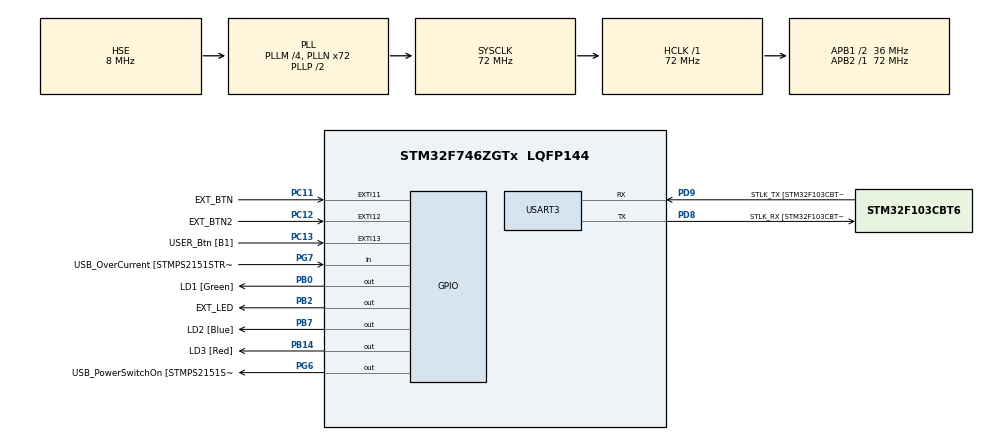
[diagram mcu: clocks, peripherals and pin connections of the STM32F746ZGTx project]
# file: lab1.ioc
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Mcu.Family=STM32F7
Mcu.Name=STM32F746ZGTx
Mcu.Package=LQFP144
NVIC.EXTI15_10_IRQn=true\:0\:0\:false\:false\:true\:true\:true\:true
NVIC.PriorityGroup=NVIC_PRIORITYGROUP_4
PA1.GPIO_Label=RMII_REF_CLK [LAN8742A-CZ-TR_REFCLK0]
PA1.Signal=ETH_REF_CLK
PA10.GPIO_Label=USB_ID
PA10.Signal=USB_OTG_FS_ID
PA11.GPIO_Label=USB_DM
PA11.Signal=USB_OTG_FS_DM
PA12.GPIO_Label=USB_DP
PA12.Signal=USB_OTG_FS_DP
PA13.GPIO_Label=TMS
PA13.Mode=Serial_Wire
PA13.Signal=SYS_JTMS-SWDIO
PA14.GPIO_Label=TCK
PA14.Mode=Serial_Wire
PA14.Signal=SYS_JTCK-SWCLK
PA2.GPIO_Label=RMII_MDIO [LAN8742A-CZ-TR_MDIO]
PA2.Signal=ETH_MDIO
PA7.GPIO_Label=RMII_CRS_DV [LAN8742A-CZ-TR_CRS_DV]
PA7.Signal=ETH_CRS_DV
PA8.GPIO_Label=USB_SOF [TP1]
PA8.Signal=USB_OTG_FS_SOF
PA9.GPIO_Label=USB_VBUS
PA9.Signal=USB_OTG_FS_VBUS
PB0.GPIO_Label=LD1 [Green]
PB0.Signal=GPIO_Output
PB13.GPIO_Label=RMII_TXD1 [LAN8742A-CZ-TR_TXD1]
PB13.Signal=ETH_TXD1
PB14.GPIO_Label=LD3 [Red]
PB14.Signal=GPIO_Output
PB2.GPIO_Label=EXT_LED
PB2.Signal=GPIO_Output
PB3.GPIO_Label=SW0
PB3.Signal=SYS_JTDO-SWO
PB7.GPIO_Label=LD2 [Blue]
PB7.Signal=GPIO_Output
PC1.GPIO_Label=RMII_MDC [LAN8742A-CZ-TR_MDC]
PC1.Signal=ETH_MDC
PC11.GPIO_Label=EXT_BTN
PC11.GPIO_ModeDefaultEXTI=GPIO_MODE_IT_RISING
PC11.GPIO_PuPd=GPIO_PULLUP
PC11.Signal=GPXTI11
PC12.GPIO_Label=EXT_BTN2
PC12.GPIO_PuPd=GPIO_PULLDOWN
PC12.Signal=GPXTI12
PC13.GPIO_Label=USER_Btn [B1]
PC13.Signal=GPXTI13
PC14/OSC32_IN.Mode=LSE-External-Oscillator
PC14/OSC32_IN.Signal=RCC_OSC32_IN
PC15/OSC32_OUT.Mode=LSE-External-Oscillator
PC15/OSC32_OUT.Signal=RCC_OSC32_OUT
PC4.GPIO_Label=RMII_RXD0 [LAN8742A-CZ-TR_RXD0]
PC4.Signal=ETH_RXD0
PC5.GPIO_Label=RMII_RXD1 [LAN8742A-CZ-TR_RXD1]
PC5.Signal=ETH_RXD1
PD8.GPIO_Label=STLK_RX [STM32F103CBT6_PA3]
PD8.GPIO_PuPd=GPIO_PULLUP
PD8.Mode=Asynchronous
PD8.Signal=USART3_TX
PD9.GPIO_Label=STLK_TX [STM32F103CBT6_PA2]
PD9.GPIO_PuPd=GPIO_PULLUP
PD9.Mode=Asynchronous
PD9.Signal=USART3_RX
PG11.GPIO_Label=RMII_TX_EN [LAN8742A-CZ-TR_TXEN]
PG11.Signal=ETH_TX_EN
PG13.GPIO_Label=RMII_TXD0 [LAN8742A-CZ-TR_TXD0]
PG13.Signal=ETH_TXD0
PG6.GPIO_Label=USB_PowerSwitchOn [STMPS2151STR_EN]
PG6.Signal=GPIO_Output
PG7.GPIO_Label=USB_OverCurrent [STMPS2151STR_FAULT]
PG7.Signal=GPIO_Input
PH0/OSC_IN.GPIO_Label=MCO [STM32F103CBT6_PA8]
PH0/OSC_IN.Mode=HSE-External-Clock-Source
PH0/OSC_IN.Signal=RCC_OSC_IN
PH1/OSC_OUT.Mode=HSE-External-Clock-Source
PH1/OSC_OUT.Signal=RCC_OSC_OUT
ProjectManager.HeapSize=0x200
ProjectManager.StackSize=0x400
ProjectManager.TargetToolchain=STM32CubeIDE
RCC.48MHZClocksFreq_Value=24000000
RCC.AHBFreq_Value=72000000
RCC.APB1CLKDivider=RCC_HCLK_DIV2
RCC.APB1Freq_Value=36000000
RCC.APB1TimFreq_Value=72000000
RCC.APB2Freq_Value=72000000
RCC.APB2TimFreq_Value=72000000
RCC.CortexFreq_Value=72000000
RCC.HCLKFreq_Value=72000000
RCC.HSE_VALUE=8000000
RCC.HSI_VALUE=16000000
RCC.PLLM=4
RCC.PLLMUL=RCC_PLL_MUL9
RCC.PLLN=72
RCC.PLLQ=3
RCC.PLLSourceVirtual=RCC_PLLSOURCE_HSE
RCC.PRESCALERUSB=RCC_USBCLKSOURCE_PLL_DIV1_5
RCC.SYSCLKFreq_VALUE=72000000
RCC.SYSCLKSource=RCC_SYSCLKSOURCE_PLLCLK
RCC.SYSCLKSourceVirtual=RCC_SYSCLKSOURCE_PLLCLK
RCC.USBFreq_Value=48000000
RCC.VCOOutputFreq_Value=144000000
USART3.VirtualMode-Asynchronous=VM_ASYNC
board=NUCLEO-F746ZG

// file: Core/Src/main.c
/* USER CODE BEGIN Header */
/**
  ******************************************************************************
  * @file           : main.c
  * @brief          : Main program body
  ******************************************************************************
  * @attention
  *
  * Copyright (c) 2024 STMicroelectronics.
  * All rights reserved.
  *
  * This software is licensed under terms that can be found in the LICENSE file
  * in the root directory of this software component.
  * If no LICENSE file comes with this software, it is provided AS-IS.
  *
  ******************************************************************************
  */
/* USER CODE END Header */
#include "main.h"

/* USER CODE BEGIN PD */
#define TASK 5
/* USER CODE END PD */

UART_HandleTypeDef huart3;

/* USER CODE BEGIN PV */
#if TASK==3 || TASK==4 || TASK==5
_Bool RisingEdge=0;
#endif
/* USER CODE END PV */

void SystemClock_Config(void);
static void MX_GPIO_Init(void);
static void MX_USART3_UART_Init(void);

/* USER CODE BEGIN PFP */
#if TASK==3
void HAL_GPIO_EXTI_Callback(uint16_t GPIO_Pin){
	if(GPIO_Pin==USER_Btn_Pin){
		RisingEdge=1;
	}
}
#endif
#if TASK==4 || TASK==5
void HAL_GPIO_EXTI_Callback(uint16_t GPIO_Pin){
	if(GPIO_Pin==EXT_BTN_Pin){
		RisingEdge=1;
	}
	if(GPIO_Pin==EXT_BTN2_Pin){
		RisingEdge=1;
	}
}
#endif
//#if TASK==5
//void HAL_GPIO_EXTI_Callback(uint16_t GPIO_Pin){
//	if(GPIO_Pin==EXT_BTN_Pin){
//		HAL_GPIO_WritePin(EXT_LED_GPIO_Port, EXT_LED_Pin, GPIO_PIN_SET);
//	}
//	if(GPIO_Pin==EXT_BTN2_Pin){
//		HAL_GPIO_WritePin(EXT_LED_GPIO_Port, EXT_LED_Pin, GPIO_PIN_RESET);
//	}
//}
//#endif
/* USER CODE END PFP */

int main(void)
{

  /* MCU Configuration--------------------------------------------------------*/

  /* Reset of all peripherals, Initializes the Flash interface and the Systick. */
  HAL_Init();

  /* Configure the system clock */
  SystemClock_Config();

  /* Initialize all configured peripherals */
  MX_GPIO_Init();
  MX_USART3_UART_Init();
  /* USER CODE BEGIN 2 */
#if TASK==1
  _Bool LD1_State, LD2_State, LD3_State;
  int i=1;
#endif
#if TASK==2 || TASK==3 || TASK==4 || TASK==5
  _Bool UserBtnNow, UserBtnPrev, UserBtn2Now, UserBtn2Prev;
#endif
  /* USER CODE END 2 */

  /* Infinite loop */
  /* USER CODE BEGIN WHILE */
  while (1)
  {
#if TASK==1
	  LD1_State=HAL_GPIO_ReadPin(LD1_GPIO_Port, LD1_Pin);
	  LD2_State=HAL_GPIO_ReadPin(LD2_GPIO_Port, LD2_Pin);
	  LD3_State=HAL_GPIO_ReadPin(LD3_GPIO_Port, LD3_Pin);

	  HAL_GPIO_WritePin(LD1_GPIO_Port, LD1_Pin, i==1);
	  HAL_GPIO_WritePin(LD2_GPIO_Port, LD2_Pin, i==2);
	  HAL_GPIO_WritePin(LD3_GPIO_Port, LD3_Pin, i==3);

	  i=1+ (i+1)%3;

	  HAL_Delay(100);
#endif
#if TASK==2
	  UserBtnNow=HAL_GPIO_ReadPin(USER_Btn_GPIO_Port, USER_Btn_Pin);
	  if(UserBtnNow==1 && UserBtnPrev==0){
		  HAL_GPIO_TogglePin(LD1_GPIO_Port, LD1_Pin);
		  HAL_GPIO_ReadPin(LD1_GPIO_Port, LD1_Pin);
	  }
	  UserBtnPrev=UserBtnNow;
	  HAL_Delay(10);
#endif
#if TASK==3
	  RisingEdge=0;
	  UserBtnNow=HAL_GPIO_ReadPin(USER_Btn_GPIO_Port, USER_Btn_Pin);
	  if(UserBtnNow==1 && UserBtnPrev==0){
		  HAL_GPIO_EXTI_Callback(USER_Btn_Pin);
		  if(RisingEdge==1){
			  HAL_GPIO_TogglePin(LD1_GPIO_Port, LD1_Pin);
		  }
	  }
	  UserBtnPrev=UserBtnNow;
	  HAL_Delay(10);
#endif
#if TASK==4
	  RisingEdge=0;
	  UserBtnNow=HAL_GPIO_ReadPin(EXT_BTN_GPIO_Port, EXT_BTN_Pin);
	  if(UserBtnNow==1 && UserBtnPrev==0){
		  HAL_GPIO_EXTI_Callback(EXT_BTN_Pin);
		  if(RisingEdge==1){
			  HAL_GPIO_TogglePin(EXT_LED_GPIO_Port, EXT_LED_Pin);
		  	  }
	  	  }
	  UserBtnPrev=UserBtnNow;
	  HAL_Delay(10);
#endif
#if TASK==5
	  RisingEdge=0;
	  UserBtnNow=HAL_GPIO_ReadPin(EXT_BTN_GPIO_Port, EXT_BTN_Pin);
	  UserBtn2Now=HAL_GPIO_ReadPin(EXT_BTN2_GPIO_Port, EXT_BTN2_Pin);
	  if(UserBtnNow==1 && UserBtnPrev==0){
		  HAL_GPIO_EXTI_Callback(EXT_BTN_Pin);
		  if(RisingEdge==1){
			  HAL_GPIO_TogglePin(EXT_LED_GPIO_Port, EXT_LED_Pin);
		  	  }
	  	  }
	  if(UserBtn2Now==1 && UserBtn2Prev==0){
		  HAL_GPIO_EXTI_Callback(EXT_BTN2_Pin);
		  if(RisingEdge==1){
		  	  }
	  	  }
	  UserBtnPrev=UserBtnNow;
	  UserBtn2Prev=UserBtn2Now;
	  HAL_Delay(10);
#endif
    /* USER CODE END WHILE */

  }
}

void SystemClock_Config(void)
{
  RCC_OscInitTypeDef RCC_OscInitStruct = {0};
  RCC_ClkInitTypeDef RCC_ClkInitStruct = {0};

  /** Configure LSE Drive Capability
  */
  HAL_PWR_EnableBkUpAccess();

  /** Configure the main internal regulator output voltage
  */
  __HAL_RCC_PWR_CLK_ENABLE();
  __HAL_PWR_VOLTAGESCALING_CONFIG(PWR_REGULATOR_VOLTAGE_SCALE3);

  /** Initializes the RCC Oscillators according to the specified parameters
  * in the RCC_OscInitTypeDef structure.
  */
  RCC_OscInitStruct.OscillatorType = RCC_OSCILLATORTYPE_HSE;
  RCC_OscInitStruct.HSEState = RCC_HSE_BYPASS;
  RCC_OscInitStruct.PLL.PLLState = RCC_PLL_ON;
  RCC_OscInitStruct.PLL.PLLSource = RCC_PLLSOURCE_HSE;
  RCC_OscInitStruct.PLL.PLLM = 4;
  RCC_OscInitStruct.PLL.PLLN = 72;
  RCC_OscInitStruct.PLL.PLLP = RCC_PLLP_DIV2;
  RCC_OscInitStruct.PLL.PLLQ = 3;
  if (HAL_RCC_OscConfig(&RCC_OscInitStruct) != HAL_OK)
  {
    Error_Handler();
  }

  /** Initializes the CPU, AHB and APB buses clocks
  */
  RCC_ClkInitStruct.ClockType = RCC_CLOCKTYPE_HCLK|RCC_CLOCKTYPE_SYSCLK
                              |RCC_CLOCKTYPE_PCLK1|RCC_CLOCKTYPE_PCLK2;
  RCC_ClkInitStruct.SYSCLKSource = RCC_SYSCLKSOURCE_PLLCLK;
  RCC_ClkInitStruct.AHBCLKDivider = RCC_SYSCLK_DIV1;
  RCC_ClkInitStruct.APB1CLKDivider = RCC_HCLK_DIV2;
  RCC_ClkInitStruct.APB2CLKDivider = RCC_HCLK_DIV1;

  if (HAL_RCC_ClockConfig(&RCC_ClkInitStruct, FLASH_LATENCY_2) != HAL_OK)
  {
    Error_Handler();
  }
}

static void MX_USART3_UART_Init(void)
{

  huart3.Instance = USART3;
  huart3.Init.BaudRate = 115200;
  huart3.Init.WordLength = UART_WORDLENGTH_8B;
  huart3.Init.StopBits = UART_STOPBITS_1;
  huart3.Init.Parity = UART_PARITY_NONE;
  huart3.Init.Mode = UART_MODE_TX_RX;
  huart3.Init.HwFlowCtl = UART_HWCONTROL_NONE;
  huart3.Init.OverSampling = UART_OVERSAMPLING_16;
  huart3.Init.OneBitSampling = UART_ONE_BIT_SAMPLE_DISABLE;
  huart3.AdvancedInit.AdvFeatureInit = UART_ADVFEATURE_NO_INIT;
  if (HAL_UART_Init(&huart3) != HAL_OK)
  {
    Error_Handler();
  }

}

static void MX_GPIO_Init(void)
{
  GPIO_InitTypeDef GPIO_InitStruct = {0};

  /* GPIO Ports Clock Enable */
  __HAL_RCC_GPIOC_CLK_ENABLE();
  __HAL_RCC_GPIOH_CLK_ENABLE();
  __HAL_RCC_GPIOA_CLK_ENABLE();
  __HAL_RCC_GPIOB_CLK_ENABLE();
  __HAL_RCC_GPIOD_CLK_ENABLE();
  __HAL_RCC_GPIOG_CLK_ENABLE();

  /*Configure GPIO pin Output Level */
  HAL_GPIO_WritePin(GPIOB, LD1_Pin|EXT_LED_Pin|LD3_Pin|LD2_Pin, GPIO_PIN_RESET);

  /*Configure GPIO pin Output Level */
  HAL_GPIO_WritePin(USB_PowerSwitchOn_GPIO_Port, USB_PowerSwitchOn_Pin, GPIO_PIN_RESET);

  /*Configure GPIO pin : USER_Btn_Pin */
  GPIO_InitStruct.Pin = USER_Btn_Pin;
  GPIO_InitStruct.Mode = GPIO_MODE_IT_RISING;
  GPIO_InitStruct.Pull = GPIO_NOPULL;
  HAL_GPIO_Init(USER_Btn_GPIO_Port, &GPIO_InitStruct);

  /*Configure GPIO pins : RMII_MDC_Pin RMII_RXD0_Pin RMII_RXD1_Pin */
  GPIO_InitStruct.Pin = RMII_MDC_Pin|RMII_RXD0_Pin|RMII_RXD1_Pin;
  GPIO_InitStruct.Mode = GPIO_MODE_AF_PP;
  GPIO_InitStruct.Pull = GPIO_NOPULL;
  GPIO_InitStruct.Speed = GPIO_SPEED_FREQ_VERY_HIGH;
  GPIO_InitStruct.Alternate = GPIO_AF11_ETH;
  HAL_GPIO_Init(GPIOC, &GPIO_InitStruct);

  /*Configure GPIO pins : RMII_REF_CLK_Pin RMII_MDIO_Pin RMII_CRS_DV_Pin */
  GPIO_InitStruct.Pin = RMII_REF_CLK_Pin|RMII_MDIO_Pin|RMII_CRS_DV_Pin;
  GPIO_InitStruct.Mode = GPIO_MODE_AF_PP;
  GPIO_InitStruct.Pull = GPIO_NOPULL;
  GPIO_InitStruct.Speed = GPIO_SPEED_FREQ_VERY_HIGH;
  GPIO_InitStruct.Alternate = GPIO_AF11_ETH;
  HAL_GPIO_Init(GPIOA, &GPIO_InitStruct);

  /*Configure GPIO pins : LD1_Pin EXT_LED_Pin LD3_Pin LD2_Pin */
  GPIO_InitStruct.Pin = LD1_Pin|EXT_LED_Pin|LD3_Pin|LD2_Pin;
  GPIO_InitStruct.Mode = GPIO_MODE_OUTPUT_PP;
  GPIO_InitStruct.Pull = GPIO_NOPULL;
  GPIO_InitStruct.Speed = GPIO_SPEED_FREQ_LOW;
  HAL_GPIO_Init(GPIOB, &GPIO_InitStruct);

  /*Configure GPIO pin : RMII_TXD1_Pin */
  GPIO_InitStruct.Pin = RMII_TXD1_Pin;
  GPIO_InitStruct.Mode = GPIO_MODE_AF_PP;
  GPIO_InitStruct.Pull = GPIO_NOPULL;
  GPIO_InitStruct.Speed = GPIO_SPEED_FREQ_VERY_HIGH;
  GPIO_InitStruct.Alternate = GPIO_AF11_ETH;
  HAL_GPIO_Init(RMII_TXD1_GPIO_Port, &GPIO_InitStruct);

  /*Configure GPIO pin : USB_PowerSwitchOn_Pin */
  GPIO_InitStruct.Pin = USB_PowerSwitchOn_Pin;
  GPIO_InitStruct.Mode = GPIO_MODE_OUTPUT_PP;
  GPIO_InitStruct.Pull = GPIO_NOPULL;
  GPIO_InitStruct.Speed = GPIO_SPEED_FREQ_LOW;
  HAL_GPIO_Init(USB_PowerSwitchOn_GPIO_Port, &GPIO_InitStruct);

  /*Configure GPIO pin : USB_OverCurrent_Pin */
  GPIO_InitStruct.Pin = USB_OverCurrent_Pin;
  GPIO_InitStruct.Mode = GPIO_MODE_INPUT;
  GPIO_InitStruct.Pull = GPIO_NOPULL;
  HAL_GPIO_Init(USB_OverCurrent_GPIO_Port, &GPIO_InitStruct);

  /*Configure GPIO pins : USB_SOF_Pin USB_ID_Pin USB_DM_Pin USB_DP_Pin */
  GPIO_InitStruct.Pin = USB_SOF_Pin|USB_ID_Pin|USB_DM_Pin|USB_DP_Pin;
  GPIO_InitStruct.Mode = GPIO_MODE_AF_PP;
  GPIO_InitStruct.Pull = GPIO_NOPULL;
  GPIO_InitStruct.Speed = GPIO_SPEED_FREQ_VERY_HIGH;
  GPIO_InitStruct.Alternate = GPIO_AF10_OTG_FS;
  HAL_GPIO_Init(GPIOA, &GPIO_InitStruct);

  /*Configure GPIO pin : USB_VBUS_Pin */
  GPIO_InitStruct.Pin = USB_VBUS_Pin;
  GPIO_InitStruct.Mode = GPIO_MODE_INPUT;
  GPIO_InitStruct.Pull = GPIO_NOPULL;
  HAL_GPIO_Init(USB_VBUS_GPIO_Port, &GPIO_InitStruct);

  /*Configure GPIO pin : EXT_BTN_Pin */
  GPIO_InitStruct.Pin = EXT_BTN_Pin;
  GPIO_InitStruct.Mode = GPIO_MODE_IT_RISING;
  GPIO_InitStruct.Pull = GPIO_PULLUP;
  HAL_GPIO_Init(EXT_BTN_GPIO_Port, &GPIO_InitStruct);

  /*Configure GPIO pin : EXT_BTN2_Pin */
  GPIO_InitStruct.Pin = EXT_BTN2_Pin;
  GPIO_InitStruct.Mode = GPIO_MODE_IT_RISING;
  GPIO_InitStruct.Pull = GPIO_PULLDOWN;
  HAL_GPIO_Init(EXT_BTN2_GPIO_Port, &GPIO_InitStruct);

  /*Configure GPIO pins : RMII_TX_EN_Pin RMII_TXD0_Pin */
  GPIO_InitStruct.Pin = RMII_TX_EN_Pin|RMII_TXD0_Pin;
  GPIO_InitStruct.Mode = GPIO_MODE_AF_PP;
  GPIO_InitStruct.Pull = GPIO_NOPULL;
  GPIO_InitStruct.Speed = GPIO_SPEED_FREQ_VERY_HIGH;
  GPIO_InitStruct.Alternate = GPIO_AF11_ETH;
  HAL_GPIO_Init(GPIOG, &GPIO_InitStruct);

  /* EXTI interrupt init*/
  HAL_NVIC_SetPriority(EXTI15_10_IRQn, 0, 0);
  HAL_NVIC_EnableIRQ(EXTI15_10_IRQn);

}

void Error_Handler(void)
{
  __disable_irq();
  while (1)
  {
  }
}
